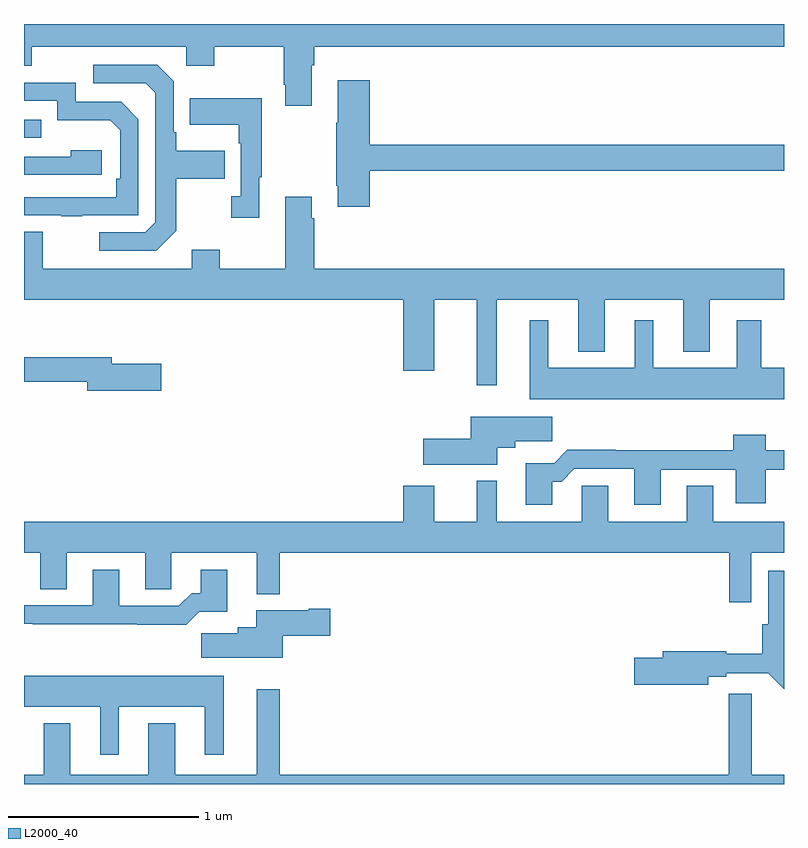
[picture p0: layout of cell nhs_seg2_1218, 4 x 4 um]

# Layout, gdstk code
import gdstk
lib = gdstk.Library(unit=1e-6, precision=1e-09)
def R(c, l, rs):  # rectangles x0, y0, x1, y1
    for r in rs: c.add(gdstk.rectangle(r[:2], r[2:], *l))
def P(c, l, *ps):  # polygons
    for p in ps: c.add(gdstk.Polygon(p, *l))
L2000_40 = (2000, 40)

nhs_seg2_1218 = lib.new_cell('nhs_seg2_1218')
R(nhs_seg2_1218, L2000_40, [(175,603.201,175.091,603.297)])
P(nhs_seg2_1218, L2000_40, [(176.515,603.584),(176.528,603.584),(176.528,603.68),(179,603.68),(179,603.8),(175,603.8),(175,603.581),(175.041,603.581),(175.041,603.68),(175.854,603.68),(175.854,603.581),(176.001,603.581),(176.001,603.68),(176.368,603.68),(176.368,603.481),(176.375,603.481),(176.375,603.369),(176.515,603.369)],
  [(175.801,602.713),(175.801,602.986),(176.057,602.986),(176.057,603.133),(175.801,603.133),(175.801,603.229),(175.788,603.229),(175.788,603.498),(175.701,603.585),(175.365,603.585),(175.365,603.489),(175.641,603.489),(175.692,603.438),(175.692,602.757),(175.638,602.703),(175.395,602.703),(175.395,602.607),(175.695,602.607)],
  [(176.819,603.028),(179,603.028),(179,603.164),(176.819,603.164),(176.819,603.505),(176.651,603.505),(176.651,603.281),(176.644,603.281),(176.644,602.95),(176.651,602.95),(176.651,602.838),(176.819,602.838)],
  [(175.307,602.793),(175.602,602.793),(175.602,603.3),(175.512,603.39),(175.272,603.39),(175.272,603.492),(175,603.492),(175,603.396),(175.176,603.396),(175.176,603.293),(175.453,603.293),(175.506,603.24),(175.506,602.986),(175.486,602.986),(175.486,602.889),(175,602.889),(175,602.793),(175.195,602.793),(175.195,602.788),(175.307,602.788)],
  [(176.239,602.993),(176.251,602.993),(176.251,603.409),(175.873,603.409),(175.873,603.269),(176.13,603.269),(176.13,603.173),(176.142,603.173),(176.142,602.894),(176.091,602.894),(176.091,602.781),(176.239,602.781)],
  [(175.408,603.136),(175.247,603.136),(175.247,603.102),(175,603.102),(175,603.006),(175.408,603.006)],
  [(177.487,602.348),(177.917,602.348),(177.917,602.075),(178.057,602.075),(178.057,602.348),(178.469,602.348),(178.469,602.075),(178.609,602.075),(178.609,602.348),(179,602.348),(179,602.512),(176.528,602.512),(176.528,602.777),(176.515,602.777),(176.515,602.89),(176.375,602.89),(176.375,602.512),(176.031,602.512),(176.031,602.611),(175.883,602.611),(175.883,602.512),(175.099,602.512),(175.099,602.707),(175,602.707),(175,602.348),(176.996,602.348),(176.996,601.974),(177.16,601.974),(177.16,602.348),(177.383,602.348),(177.383,601.899),(177.487,601.899)],
  [(179,601.99),(178.879,601.99),(178.879,602.242),(178.751,602.242),(178.751,601.99),(178.312,601.99),(178.312,602.242),(178.214,602.242),(178.214,601.99),(177.76,601.99),(177.76,602.242),(177.662,602.242),(177.662,601.826),(179,601.826)],
  [(175.723,602.013),(175.462,602.013),(175.462,602.047),(175,602.047),(175,601.918),(175.334,601.918),(175.334,601.871),(175.723,601.871)],
  [(177.49,601.571),(177.586,601.571),(177.586,601.603),(177.781,601.603),(177.781,601.732),(177.35,601.732),(177.35,601.616),(177.102,601.616),(177.102,601.481),(177.49,601.481)],
  [(177.781,601.391),(177.83,601.391),(177.897,601.458),(178.211,601.458),(178.211,601.269),(178.351,601.269),(178.351,601.455),(178.745,601.455),(178.745,601.277),(178.903,601.277),(178.903,601.455),(179,601.455),(179,601.556),(178.903,601.556),(178.903,601.639),(178.733,601.639),(178.733,601.556),(178.115,601.556),(178.115,601.559),(177.86,601.559),(177.79,601.489),(177.641,601.489),(177.641,601.269),(177.781,601.269)],
  [(175,601.016),(175.085,601.016),(175.085,600.826),(175.225,600.826),(175.225,601.016),(175.637,601.016),(175.637,600.826),(175.776,600.826),(175.776,601.016),(176.225,601.016),(176.225,600.8),(176.347,600.8),(176.347,601.016),(178.711,601.016),(178.711,600.756),(178.827,600.756),(178.827,601.016),(179,601.016),(179,601.18),(178.627,601.18),(178.627,601.37),(178.487,601.37),(178.487,601.18),(178.075,601.18),(178.075,601.37),(177.936,601.37),(177.936,601.18),(177.487,601.18),(177.487,601.396),(177.383,601.396),(177.383,601.18),(177.16,601.18),(177.16,601.369),(176.996,601.369),(176.996,601.18),(175,601.18)],
  [(175.922,600.707),(176.071,600.707),(176.071,600.928),(175.931,600.928),(175.931,600.805),(175.882,600.805),(175.815,600.738),(175.501,600.738),(175.501,600.928),(175.361,600.928),(175.361,600.741),(175,600.741),(175,600.644),(175.045,600.644),(175.045,600.64),(175.597,600.64),(175.597,600.638),(175.853,600.638)],
  [(179,600.922),(178.916,600.922),(178.916,600.642),(178.886,600.642),(178.886,600.485),(178.696,600.485),(178.696,600.5),(178.361,600.5),(178.361,600.464),(178.212,600.464),(178.212,600.322),(178.6,600.322),(178.6,600.364),(178.696,600.364),(178.696,600.384),(178.916,600.384),(179,600.3)],
  [(176.362,600.581),(176.611,600.581),(176.611,600.723),(176.498,600.723),(176.498,600.715),(176.222,600.715),(176.222,600.625),(176.126,600.625),(176.126,600.593),(175.932,600.593),(175.932,600.464),(176.362,600.464)],
  [(175.498,600.206),(175.952,600.206),(175.952,599.955),(176.05,599.955),(176.05,600.37),(175,600.37),(175,600.206),(175.4,600.206),(175.4,599.955),(175.498,599.955)],
  [(179,599.848),(178.831,599.848),(178.831,600.274),(178.709,600.274),(178.709,599.848),(176.347,599.848),(176.347,600.298),(176.225,600.298),(176.225,599.848),(175.795,599.848),(175.795,600.121),(175.655,600.121),(175.655,599.848),(175.243,599.848),(175.243,600.121),(175.103,600.121),(175.103,599.848),(175,599.848),(175,599.8),(179,599.8)])

lib.write_gds('nhs_seg2_1218.gds')
